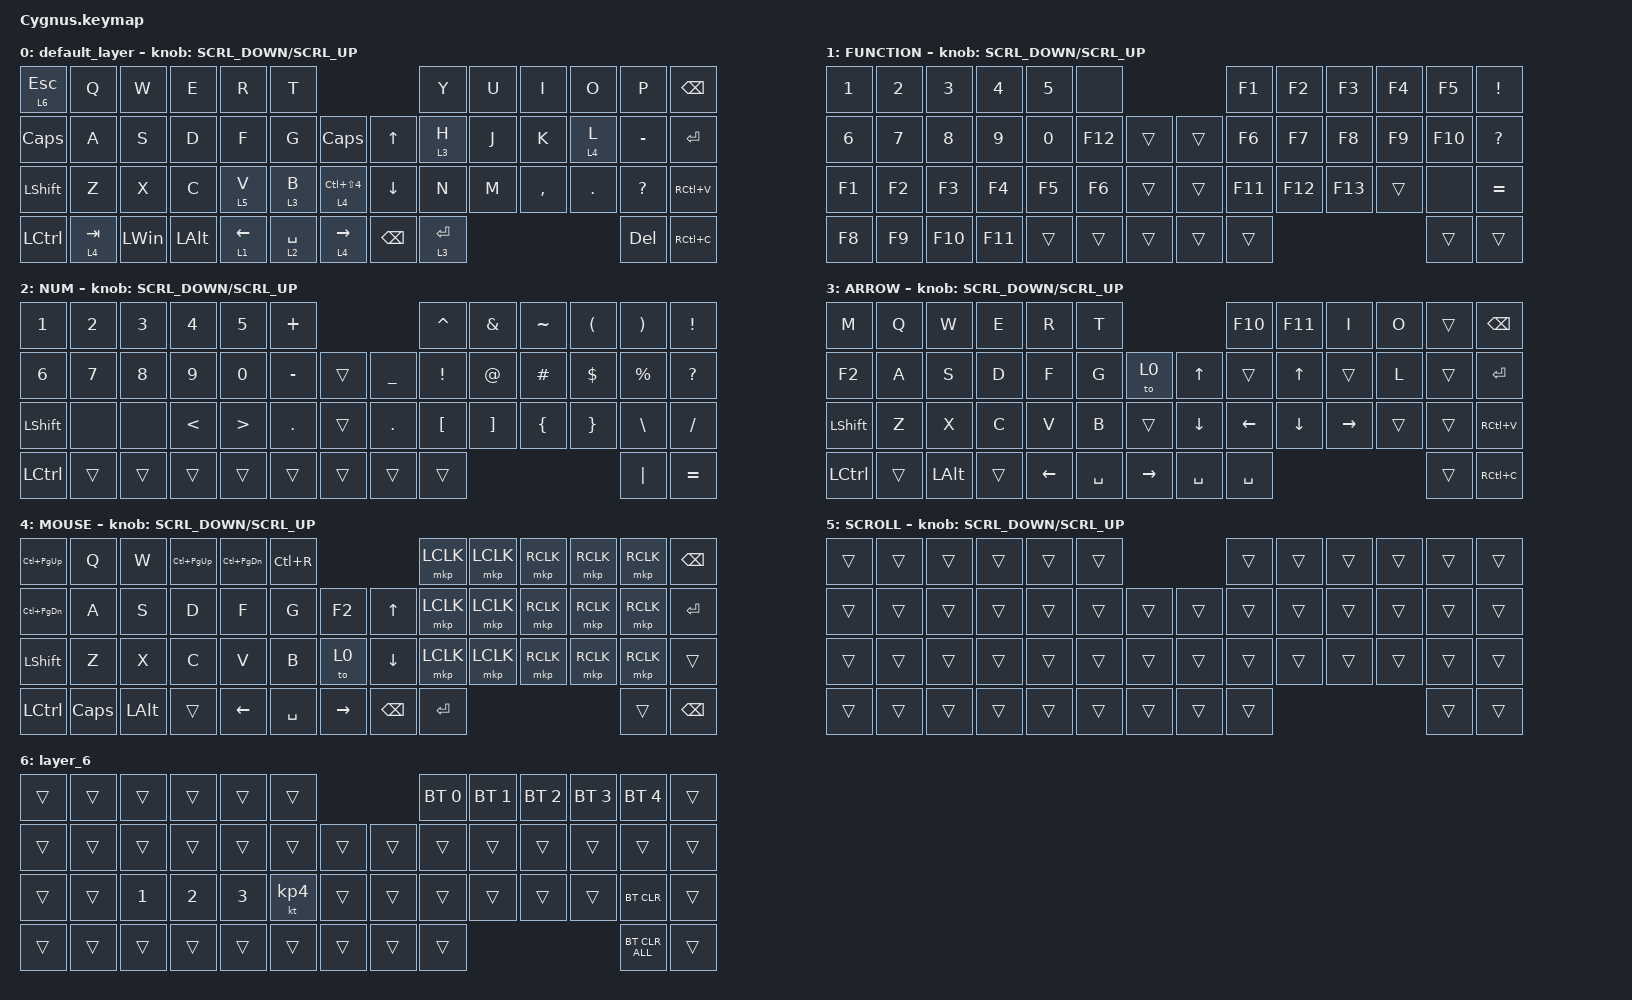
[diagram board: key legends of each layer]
#define ZMK_POINTING_DEFAULT_SCRL_VAL 120    // default: 10

#include <behaviors.dtsi>
#include <dt-bindings/zmk/bt.h>
#include <dt-bindings/zmk/keys.h>
#include <dt-bindings/zmk/pointing.h>

#define MOUSE 4
#define SCROLL 5
#define NUM 6

&mt {
    flavor = "balanced";
    quick-tap-ms = <0>;
};

/ {
    combos {
        compatible = "zmk,combos";

        double_quotation {
            bindings = <&kp DOUBLE_QUOTES>;
            key-positions = <20 21>;
        };
    };

    macros {
        to_layer_0: to_layer_0 {
            compatible = "zmk,behavior-macro-one-param";
            #binding-cells = <1>;
            bindings = <&to 0 &macro_param_1to1 &kp MACRO_PLACEHOLDER>;
            label = "TO_LAYER_0";
        };
    };

    behaviors {
        lt_to_layer_0: lt_to_layer_0 {
            compatible = "zmk,behavior-hold-tap";
            label = "LAYER_TAP_TO_0";
            bindings = <&mo>, <&to_layer_0>;

            #binding-cells = <2>;
            tapping-term-ms = <200>;
        };

        ROTATE: ROTATE {
            compatible = "zmk,behavior-sensor-rotate-var";
            label = "ROTATE";
            #sensor-binding-cells = <2>;
            bindings = <&msc>, <&msc>;

            tap-ms = <20>;
        };
    };

    keymap {
        compatible = "zmk,keymap";

        default_layer {
            bindings = <
&lt 6 ESC     &kp Q      &kp W     &kp E         &kp R             &kp T                                             &kp Y        &kp U  &kp I      &kp O    &kp P         &kp BSPC
&kp CAPSLOCK  &kp A      &kp S     &kp D         &kp F             &kp G        &kp CAPS             &kp UP_ARROW    &lt 3 H      &kp J  &kp K      &lt 4 L  &kp MINUS     &kp ENTER
&kp LSHFT     &kp Z      &kp X     &kp C         &lt 5 V           &lt 3 B      &lt 4 LC(LS(N4))     &kp DOWN_ARROW  &kp N        &kp M  &kp COMMA  &kp DOT  &kp QUESTION  &kp RC(V)
&kp LCTRL     &lt 4 TAB  &kp LWIN  &kp LEFT_ALT  &lt 1 LEFT_ARROW  &lt 2 SPACE  &lt 4 RIGHT_ARROW    &kp BACKSPACE   &lt 3 ENTER                             &kp DEL       &kp RC(C)
            >;

            sensor-bindings = <&ROTATE SCRL_DOWN SCRL_UP>;
        };

        FUNCTION {
            bindings = <
&kp N1  &kp N2  &kp N3   &kp N4   &kp N5  &none                      &kp F1   &kp F2   &kp F3   &kp F4  &kp F5   &kp EXCL
&kp N6  &kp N7  &kp N8   &kp N9   &kp N0  &kp F12  &trans    &trans  &kp F6   &kp F7   &kp F8   &kp F9  &kp F10  &kp QUESTION
&kp F1  &kp F2  &kp F3   &kp F4   &kp F5  &kp F6   &trans    &trans  &kp F11  &kp F12  &kp F13  &trans  &none    &kp EQUAL
&kp F8  &kp F9  &kp F10  &kp F11  &trans  &trans   &trans    &trans  &trans                             &trans   &trans
            >;

            sensor-bindings = <&ROTATE SCRL_DOWN SCRL_UP>;
        };

        NUM {
            bindings = <
&kp N1            &kp N2  &kp N3  &kp N4         &kp N5            &kp PLUS                              &kp CARET         &kp AMPERSAND      &kp TILDE       &kp LEFT_PARENTHESIS  &kp RIGHT_PARENTHESIS  &kp EXCL
&kp N6            &kp N7  &kp N8  &kp N9         &kp N0            &kp MINUS   &trans    &kp UNDERSCORE  &kp EXCLAMATION   &kp AT_SIGN        &kp HASH        &kp DOLLAR            &kp PERCENT            &kp QUESTION
&kp LEFT_SHIFT    &none   &none   &kp LESS_THAN  &kp GREATER_THAN  &kp PERIOD  &trans    &kp DOT         &kp LEFT_BRACKET  &kp RIGHT_BRACKET  &kp LEFT_BRACE  &kp RIGHT_BRACE       &kp BACKSLASH          &kp SLASH
&kp LEFT_CONTROL  &trans  &trans  &trans         &trans            &trans      &trans    &trans          &trans                                                                     &kp PIPE               &kp EQUAL
            >;

            sensor-bindings = <&ROTATE SCRL_DOWN SCRL_UP>;
        };

        ARROW {
            bindings = <
&kp M             &kp Q   &kp W         &kp E   &kp R           &kp T                                         &kp F10         &kp F11         &kp I            &kp O   &trans  &kp BACKSPACE
&kp F2            &kp A   &kp S         &kp D   &kp F           &kp G      &to 0              &kp UP_ARROW    &trans          &kp UP_ARROW    &trans           &kp L   &trans  &kp ENTER
&kp LSHFT         &kp Z   &kp X         &kp C   &kp V           &kp B      &trans             &kp DOWN_ARROW  &kp LEFT_ARROW  &kp DOWN_ARROW  &kp RIGHT_ARROW  &trans  &trans  &kp RC(V)
&kp LEFT_CONTROL  &trans  &kp LEFT_ALT  &trans  &kp LEFT_ARROW  &kp SPACE  &kp RIGHT_ARROW    &kp SPACE       &kp SPACE                                                &trans  &kp RC(C)
            >;

            sensor-bindings = <&ROTATE SCRL_DOWN SCRL_UP>;
        };

        MOUSE {
            bindings = <
&kp LC(PAGE_UP)    &kp Q         &kp W         &kp LC(PAGE_UP)  &kp LC(PAGE_DOWN)  &kp LC(R)                                     &mkp LCLK  &mkp LCLK  &mkp RCLK  &mkp RCLK  &mkp RCLK  &kp BACKSPACE
&kp LC(PAGE_DOWN)  &kp A         &kp S         &kp D            &kp F              &kp G      &kp F2             &kp UP_ARROW    &mkp LCLK  &mkp LCLK  &mkp RCLK  &mkp RCLK  &mkp RCLK  &kp ENTER
&kp LEFT_SHIFT     &kp Z         &kp X         &kp C            &kp V              &kp B      &to 0              &kp DOWN_ARROW  &mkp LCLK  &mkp LCLK  &mkp RCLK  &mkp RCLK  &mkp RCLK  &trans
&kp LEFT_CONTROL   &kp CAPSLOCK  &kp LEFT_ALT  &trans           &kp LEFT_ARROW     &kp SPACE  &kp RIGHT_ARROW    &kp BACKSPACE   &kp ENTER                                   &trans     &kp BACKSPACE
            >;

            sensor-bindings = <&ROTATE SCRL_DOWN SCRL_UP>;
        };

        SCROLL {
            bindings = <
&trans  &trans  &trans  &trans  &trans  &trans                    &trans  &trans  &trans  &trans  &trans  &trans
&trans  &trans  &trans  &trans  &trans  &trans  &trans    &trans  &trans  &trans  &trans  &trans  &trans  &trans
&trans  &trans  &trans  &trans  &trans  &trans  &trans    &trans  &trans  &trans  &trans  &trans  &trans  &trans
&trans  &trans  &trans  &trans  &trans  &trans  &trans    &trans  &trans                          &trans  &trans
            >;

            sensor-bindings = <&ROTATE SCRL_DOWN SCRL_UP>;
        };

        layer_6 {
            bindings = <
&trans  &trans  &trans        &trans        &trans        &trans                       &bt BT_SEL 0  &bt BT_SEL 1  &bt BT_SEL 2  &bt BT_SEL 3  &bt BT_SEL 4    &trans
&trans  &trans  &trans        &trans        &trans        &trans     &trans    &trans  &trans        &trans        &trans        &trans        &trans          &trans
&trans  &trans  &kp NUMBER_1  &kp NUMBER_2  &kp NUMBER_3  &kt KP_N4  &trans    &trans  &trans        &trans        &trans        &trans        &bt BT_CLR      &trans
&trans  &trans  &trans        &trans        &trans        &trans     &trans    &trans  &trans                                                  &bt BT_CLR_ALL  &trans
            >;
        };
    };
};
